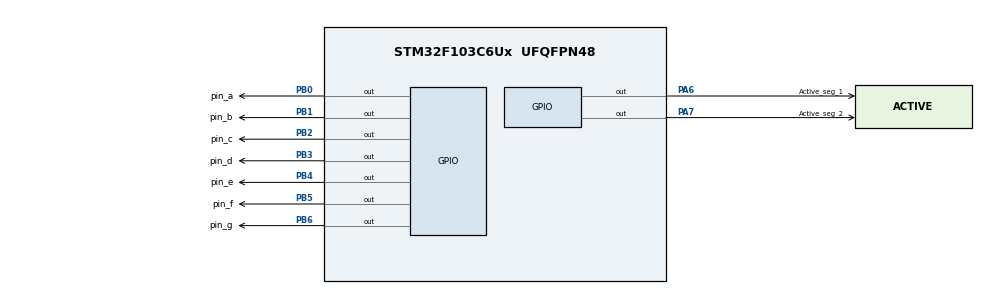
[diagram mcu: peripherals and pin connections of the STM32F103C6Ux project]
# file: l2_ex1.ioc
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Mcu.Family=STM32F1
Mcu.Name=STM32F103C6Ux
Mcu.Package=UFQFPN48
NVIC.PriorityGroup=NVIC_PRIORITYGROUP_4
NVIC.TIM2_IRQn=true\:0\:0\:false\:false\:true\:true\:true
PA6.GPIO_Label=Active_seg_1
PA6.PinState=GPIO_PIN_SET
PA6.Signal=GPIO_Output
PA7.GPIO_Label=Active_seg_2
PA7.PinState=GPIO_PIN_SET
PA7.Signal=GPIO_Output
PB0.GPIO_Label=pin_a
PB0.PinState=GPIO_PIN_SET
PB0.Signal=GPIO_Output
PB1.GPIO_Label=pin_b
PB1.PinState=GPIO_PIN_SET
PB1.Signal=GPIO_Output
PB2.GPIO_Label=pin_c
PB2.PinState=GPIO_PIN_SET
PB2.Signal=GPIO_Output
PB3.GPIO_Label=pin_d
PB3.PinState=GPIO_PIN_SET
PB3.Signal=GPIO_Output
PB4.GPIO_Label=pin_e
PB4.PinState=GPIO_PIN_SET
PB4.Signal=GPIO_Output
PB5.GPIO_Label=pin_f
PB5.PinState=GPIO_PIN_SET
PB5.Signal=GPIO_Output
PB6.GPIO_Label=pin_g
PB6.PinState=GPIO_PIN_SET
PB6.Signal=GPIO_Output
ProjectManager.HeapSize=0x200
ProjectManager.StackSize=0x400
ProjectManager.TargetToolchain=STM32CubeIDE
RCC.APB1Freq_Value=8000000
RCC.APB2Freq_Value=8000000
TIM2.Period=9
TIM2.Prescaler=7999
VP_SYS_VS_ND.Mode=No_Debug
VP_TIM2_VS_ClockSourceINT.Mode=Internal
board=custom

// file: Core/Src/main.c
/* USER CODE BEGIN Header */
/**
  ******************************************************************************
  * @file           : main.c
  * @brief          : Main program body
  ******************************************************************************
  * @attention
  *
  * <h2><center>&copy; Copyright (c) 2025 STMicroelectronics.
  * All rights reserved.</center></h2>
  *
  * This software component is licensed by ST under BSD 3-Clause license,
  * the "License"; You may not use this file except in compliance with the
  * License. You may obtain a copy of the License at:
  *                        opensource.org/licenses/BSD-3-Clause
  *
  ******************************************************************************
  */
/* USER CODE END Header */
#include "main.h"

/* USER CODE BEGIN Includes */
#include "timer.h"
/* USER CODE END Includes */

TIM_HandleTypeDef htim2;

void SystemClock_Config(void);
static void MX_GPIO_Init(void);
static void MX_TIM2_Init(void);

int main(void)
{

  /* MCU Configuration--------------------------------------------------------*/

  /* Reset of all peripherals, Initializes the Flash interface and the Systick. */
  HAL_Init();

  /* Configure the system clock */
  SystemClock_Config();

  /* Initialize all configured peripherals */
  MX_GPIO_Init();
  MX_TIM2_Init();
  /* USER CODE BEGIN 2 */
  HAL_TIM_Base_Start_IT(&htim2);
  /* USER CODE END 2 */

  /* Infinite loop */
  /* USER CODE BEGIN WHILE */

  GPIO_TypeDef* SEG_GPIO[7] = {pin_a_GPIO_Port,pin_b_GPIO_Port,
		  pin_c_GPIO_Port,pin_d_GPIO_Port,pin_e_GPIO_Port,
		  pin_f_GPIO_Port,pin_g_GPIO_Port};

  int SEG_pin[7] = {pin_a_Pin,pin_b_Pin,pin_c_Pin,
		  pin_d_Pin,pin_e_Pin,pin_f_Pin,pin_g_Pin};

  void display7SEG(int counter, GPIO_TypeDef* pin[7], int p[7])
  {
  	  switch (counter){
  	  case 0:
  		  HAL_GPIO_WritePin(pin[0], p[0], RESET);
  		  HAL_GPIO_WritePin(pin[1], p[1], RESET);
  		  HAL_GPIO_WritePin(pin[2], p[2], RESET);
  		  HAL_GPIO_WritePin(pin[3], p[3], RESET);
  		  HAL_GPIO_WritePin(pin[4], p[4], RESET);
  		  HAL_GPIO_WritePin(pin[5], p[5], RESET);
  		  HAL_GPIO_WritePin(pin[6], p[6], SET);
  		  break;
  	  case 1:
  		  HAL_GPIO_WritePin(pin[0], p[0], SET);
  		  HAL_GPIO_WritePin(pin[1], p[1], RESET);
  		  HAL_GPIO_WritePin(pin[2], p[2], RESET);
  		  HAL_GPIO_WritePin(pin[3], p[3], SET);
  		  HAL_GPIO_WritePin(pin[4], p[4], SET);
  		  HAL_GPIO_WritePin(pin[5], p[5], SET);
  		  HAL_GPIO_WritePin(pin[6], p[6], SET);
  		  break;
  	  case 2:
  		  HAL_GPIO_WritePin(pin[0], p[0], RESET);
  		  HAL_GPIO_WritePin(pin[1], p[1], RESET);
  		  HAL_GPIO_WritePin(pin[2], p[2], SET);
  		  HAL_GPIO_WritePin(pin[3], p[3], RESET);
  		  HAL_GPIO_WritePin(pin[4], p[4], RESET);
  		  HAL_GPIO_WritePin(pin[5], p[5], SET);
  		  HAL_GPIO_WritePin(pin[6], p[6], RESET);
  		  break;
  	  case 3:
  		  HAL_GPIO_WritePin(pin[0], p[0], RESET);
  		  HAL_GPIO_WritePin(pin[1], p[1], RESET);
  		  HAL_GPIO_WritePin(pin[2], p[2], RESET);
  		  HAL_GPIO_WritePin(pin[3], p[3], RESET);
  		  HAL_GPIO_WritePin(pin[4], p[4], SET);
  		  HAL_GPIO_WritePin(pin[5], p[5], SET);
  		  HAL_GPIO_WritePin(pin[6], p[6], RESET);
  		  break;
  	  case 4:
  		  HAL_GPIO_WritePin(pin[0], p[0], SET);
  		  HAL_GPIO_WritePin(pin[1], p[1], RESET);
  		  HAL_GPIO_WritePin(pin[2], p[2], RESET);
  		  HAL_GPIO_WritePin(pin[3], p[3], SET);
  		  HAL_GPIO_WritePin(pin[4], p[4], SET);
  		  HAL_GPIO_WritePin(pin[5], p[5], RESET);
  		  HAL_GPIO_WritePin(pin[6], p[6], RESET);
  		  break;
  	  case 5:
  		  HAL_GPIO_WritePin(pin[0], p[0], RESET);
  		  HAL_GPIO_WritePin(pin[1], p[1], SET);
  		  HAL_GPIO_WritePin(pin[2], p[2], RESET);
  		  HAL_GPIO_WritePin(pin[3], p[3], RESET);
  		  HAL_GPIO_WritePin(pin[4], p[4], SET);
  		  HAL_GPIO_WritePin(pin[5], p[5], RESET);
  		  HAL_GPIO_WritePin(pin[6], p[6], RESET);
  		  break;
  	  case 6:
  		  HAL_GPIO_WritePin(pin[0], p[0], RESET);
  		  HAL_GPIO_WritePin(pin[1], p[1], SET);
  		  HAL_GPIO_WritePin(pin[2], p[2], RESET);
  		  HAL_GPIO_WritePin(pin[3], p[3], RESET);
  		  HAL_GPIO_WritePin(pin[4], p[4], RESET);
  		  HAL_GPIO_WritePin(pin[5], p[5], RESET);
  		  HAL_GPIO_WritePin(pin[6], p[6], RESET);
  		  break;
  	  case 7:
  		  HAL_GPIO_WritePin(pin[0], p[0], RESET);
  		  HAL_GPIO_WritePin(pin[1], p[1], RESET);
  		  HAL_GPIO_WritePin(pin[2], p[2], RESET);
  		  HAL_GPIO_WritePin(pin[3], p[3], SET);
  		  HAL_GPIO_WritePin(pin[4], p[4], SET);
  		  HAL_GPIO_WritePin(pin[5], p[5], SET);
  		  HAL_GPIO_WritePin(pin[6], p[6], SET);
  		  break;
  	  case 8:
  		  HAL_GPIO_WritePin(pin[0], p[0], RESET);
  		  HAL_GPIO_WritePin(pin[1], p[1], RESET);
  		  HAL_GPIO_WritePin(pin[2], p[2], RESET);
  		  HAL_GPIO_WritePin(pin[3], p[3], RESET);
  		  HAL_GPIO_WritePin(pin[4], p[4], RESET);
  		  HAL_GPIO_WritePin(pin[5], p[5], RESET);
  		  HAL_GPIO_WritePin(pin[6], p[6], RESET);
  		  break;
  	  case 9:
  		  HAL_GPIO_WritePin(pin[0], p[0], RESET);
  		  HAL_GPIO_WritePin(pin[1], p[1], RESET);
  		  HAL_GPIO_WritePin(pin[2], p[2], RESET);
  		  HAL_GPIO_WritePin(pin[3], p[3], RESET);
  		  HAL_GPIO_WritePin(pin[4], p[4], SET);
  		  HAL_GPIO_WritePin(pin[5], p[5], RESET);
  		  HAL_GPIO_WritePin(pin[6], p[6], RESET);
  		  break;
  	  default:
  	  {
  		  HAL_GPIO_WritePin(pin[0], p[0], SET);
  		  HAL_GPIO_WritePin(pin[1], p[1], SET);
  		  HAL_GPIO_WritePin(pin[2], p[2], SET);
  		  HAL_GPIO_WritePin(pin[3], p[3], SET);
  		  HAL_GPIO_WritePin(pin[4], p[4], SET);
  		  HAL_GPIO_WritePin(pin[5], p[5], SET);
  		  HAL_GPIO_WritePin(pin[6], p[6], SET);
  		  break;
  	  }
  	  }
  }

  settimer(50);
  int stage = 1;
  while (1)
  {
	  if(time_flag == 1)
	  {
		  if(stage == 1)
		  {
			  //display7SEG(10, SEG_GPIO, SEG_pin); turn off 7 segment
			  HAL_GPIO_WritePin(Active_seg_1_GPIO_Port, Active_seg_1_Pin, RESET);
			  HAL_GPIO_WritePin(Active_seg_2_GPIO_Port, Active_seg_2_Pin, SET);
		  }
		  else
		  {
			  //display7SEG(10, SEG_GPIO, SEG_pin);
			  HAL_GPIO_WritePin(Active_seg_1_GPIO_Port, Active_seg_1_Pin, SET);
			  HAL_GPIO_WritePin(Active_seg_2_GPIO_Port, Active_seg_2_Pin, RESET);
		  }
		  display7SEG(stage, SEG_GPIO, SEG_pin);
		  stage = (stage==1) ? 2:1;
		  settimer(50);
	  }
    /* USER CODE END WHILE */

  }
}

void SystemClock_Config(void)
{
  RCC_OscInitTypeDef RCC_OscInitStruct = {0};
  RCC_ClkInitTypeDef RCC_ClkInitStruct = {0};

  /** Initializes the RCC Oscillators according to the specified parameters
  * in the RCC_OscInitTypeDef structure.
  */
  RCC_OscInitStruct.OscillatorType = RCC_OSCILLATORTYPE_HSI;
  RCC_OscInitStruct.HSIState = RCC_HSI_ON;
  RCC_OscInitStruct.HSICalibrationValue = RCC_HSICALIBRATION_DEFAULT;
  RCC_OscInitStruct.PLL.PLLState = RCC_PLL_NONE;
  if (HAL_RCC_OscConfig(&RCC_OscInitStruct) != HAL_OK)
  {
    Error_Handler();
  }
  /** Initializes the CPU, AHB and APB buses clocks
  */
  RCC_ClkInitStruct.ClockType = RCC_CLOCKTYPE_HCLK|RCC_CLOCKTYPE_SYSCLK
                              |RCC_CLOCKTYPE_PCLK1|RCC_CLOCKTYPE_PCLK2;
  RCC_ClkInitStruct.SYSCLKSource = RCC_SYSCLKSOURCE_HSI;
  RCC_ClkInitStruct.AHBCLKDivider = RCC_SYSCLK_DIV1;
  RCC_ClkInitStruct.APB1CLKDivider = RCC_HCLK_DIV1;
  RCC_ClkInitStruct.APB2CLKDivider = RCC_HCLK_DIV1;

  if (HAL_RCC_ClockConfig(&RCC_ClkInitStruct, FLASH_LATENCY_0) != HAL_OK)
  {
    Error_Handler();
  }
}

static void MX_TIM2_Init(void)
{

  TIM_ClockConfigTypeDef sClockSourceConfig = {0};
  TIM_MasterConfigTypeDef sMasterConfig = {0};

  htim2.Instance = TIM2;
  htim2.Init.Prescaler = 7999;
  htim2.Init.CounterMode = TIM_COUNTERMODE_UP;
  htim2.Init.Period = 9;
  htim2.Init.ClockDivision = TIM_CLOCKDIVISION_DIV1;
  htim2.Init.AutoReloadPreload = TIM_AUTORELOAD_PRELOAD_DISABLE;
  if (HAL_TIM_Base_Init(&htim2) != HAL_OK)
  {
    Error_Handler();
  }
  sClockSourceConfig.ClockSource = TIM_CLOCKSOURCE_INTERNAL;
  if (HAL_TIM_ConfigClockSource(&htim2, &sClockSourceConfig) != HAL_OK)
  {
    Error_Handler();
  }
  sMasterConfig.MasterOutputTrigger = TIM_TRGO_RESET;
  sMasterConfig.MasterSlaveMode = TIM_MASTERSLAVEMODE_DISABLE;
  if (HAL_TIMEx_MasterConfigSynchronization(&htim2, &sMasterConfig) != HAL_OK)
  {
    Error_Handler();
  }

}

static void MX_GPIO_Init(void)
{
  GPIO_InitTypeDef GPIO_InitStruct = {0};

  /* GPIO Ports Clock Enable */
  __HAL_RCC_GPIOA_CLK_ENABLE();
  __HAL_RCC_GPIOB_CLK_ENABLE();

  /*Configure GPIO pin Output Level */
  HAL_GPIO_WritePin(GPIOA, Active_seg_1_Pin|Active_seg_2_Pin, GPIO_PIN_SET);

  /*Configure GPIO pin Output Level */
  HAL_GPIO_WritePin(GPIOB, pin_a_Pin|pin_b_Pin|pin_c_Pin|pin_d_Pin
                          |pin_e_Pin|pin_f_Pin|pin_g_Pin, GPIO_PIN_SET);

  /*Configure GPIO pins : Active_seg_1_Pin Active_seg_2_Pin */
  GPIO_InitStruct.Pin = Active_seg_1_Pin|Active_seg_2_Pin;
  GPIO_InitStruct.Mode = GPIO_MODE_OUTPUT_PP;
  GPIO_InitStruct.Pull = GPIO_NOPULL;
  GPIO_InitStruct.Speed = GPIO_SPEED_FREQ_LOW;
  HAL_GPIO_Init(GPIOA, &GPIO_InitStruct);

  /*Configure GPIO pins : pin_a_Pin pin_b_Pin pin_c_Pin pin_d_Pin
                           pin_e_Pin pin_f_Pin pin_g_Pin */
  GPIO_InitStruct.Pin = pin_a_Pin|pin_b_Pin|pin_c_Pin|pin_d_Pin
                          |pin_e_Pin|pin_f_Pin|pin_g_Pin;
  GPIO_InitStruct.Mode = GPIO_MODE_OUTPUT_PP;
  GPIO_InitStruct.Pull = GPIO_NOPULL;
  GPIO_InitStruct.Speed = GPIO_SPEED_FREQ_LOW;
  HAL_GPIO_Init(GPIOB, &GPIO_InitStruct);

}

/* USER CODE BEGIN 4 */
void HAL_TIM_PeriodElapsedCallback(TIM_HandleTypeDef *htim)
{
	runtime();
}
/* USER CODE END 4 */

void Error_Handler(void)
{
  __disable_irq();
  while (1)
  {
  }
}

/************************ (C) COPYRIGHT STMicroelectronics *****END OF FILE****/
